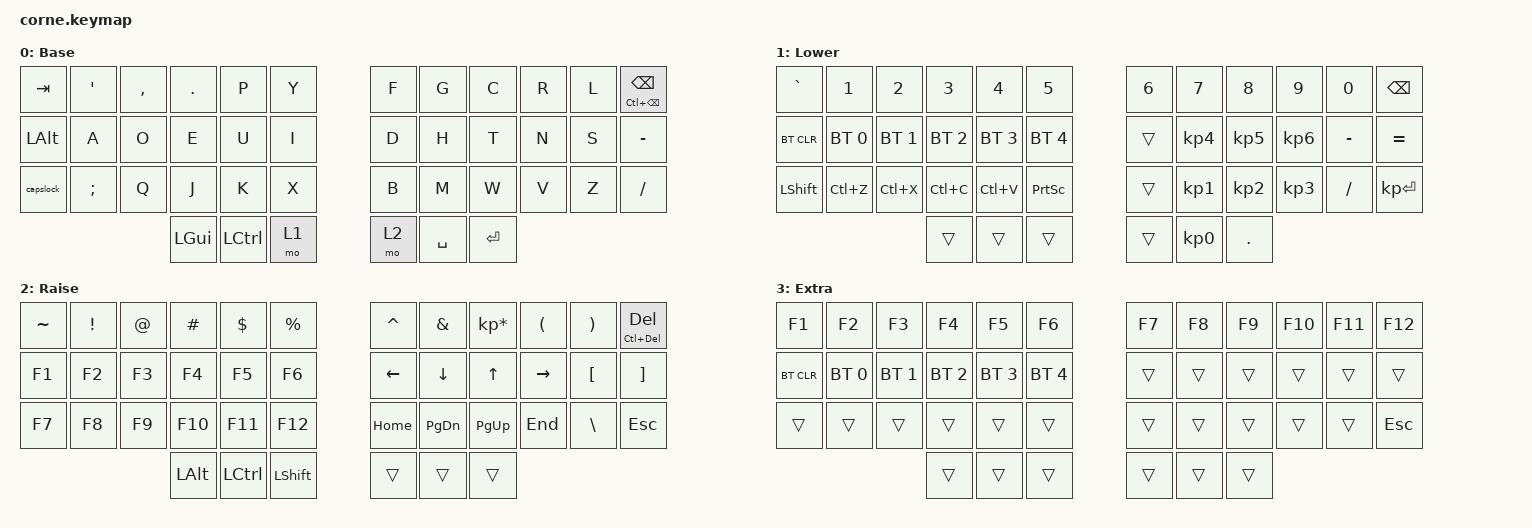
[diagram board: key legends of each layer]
/*
 * Copyright (c) 2020 The ZMK Contributors
 *
 * SPDX-License-Identifier: MIT
 */

#include <behaviors.dtsi>
#include <dt-bindings/zmk/bt.h>
#include <dt-bindings/zmk/keys.h>

/ {
    combos {
        compatible = "zmk,combos";

        Escape {
            bindings = <&kp ESCAPE>;
            key-positions = <0 1>;
        };
    };

    behaviors {
        holdtap: holdtap {
            compatible = "zmk,behavior-hold-tap";
            label = "HOLDTAP";
            bindings = <&kp>, <&kp>;

            #binding-cells = <2>;
            tapping-term-ms = <200>;
            flavor = "balanced";
        };

        capslock: capslock {
            compatible = "zmk,behavior-tap-dance";
            label = "CAPSLOCK";
            #binding-cells = <0>;
            bindings = <&kp LEFT_SHIFT>, <&kp CAPSLOCK>;
        };
    };

    keymap {
        compatible = "zmk,keymap";

        default_layer {
            // -----------------------------------------------------------------------------------------
            // |  TAB |  Q  |  W  |  E  |  R  |  T  |   |  Y  |  U   |  I  |  O  |  P  | BKSP |
            // | CTRL |  A  |  S  |  D  |  F  |  G  |   |  H  |  J   |  K  |  L  |  ;  |  '   |
            // | SHFT |  Z  |  X  |  C  |  V  |  B  |   |  N  |  M   |  ,  |  .  |  /  | ESC  |
            //                    | GUI | LWR | SPC |   | ENT | RSE  | ALT |

            display-name = "Base";
            bindings = <
&kp TAB       &kp SQT        &kp COMMA  &kp PERIOD  &kp P      &kp Y    &kp F  &kp G      &kp C      &kp R  &kp L  &holdtap LC(BSPC) BACKSPACE
&kp LEFT_ALT  &kp A          &kp O      &kp E       &kp U      &kp I    &kp D  &kp H      &kp T      &kp N  &kp S  &kp MINUS
&capslock     &kp SEMICOLON  &kp Q      &kp J       &kp K      &kp X    &kp B  &kp M      &kp W      &kp V  &kp Z  &kp SLASH
                                        &kp LGUI    &kp LCTRL  &mo 1    &mo 2  &kp SPACE  &kp ENTER
            >;
        };

        lower_layer {
            // -----------------------------------------------------------------------------------------
            // |  TAB |  1  |  2  |  3  |  4  |  5  |   |  6  |  7  |  8  |  9  |  0  | BKSP |
            // | BTCLR| BT1 | BT2 | BT3 | BT4 | BT5 |   | LFT | DWN |  UP | RGT |     |      |
            // | SHFT |     |     |     |     |     |   |     |     |     |     |     |      |
            //                    | GUI |     | SPC |   | ENT |     | ALT |

            display-name = "Lower";
            bindings = <
&kp GRAVE   &kp N1        &kp N2        &kp N3        &kp N4        &kp N5             &kp N6  &kp N7           &kp N8           &kp N9           &kp N0     &kp BSPC
&bt BT_CLR  &bt BT_SEL 0  &bt BT_SEL 1  &bt BT_SEL 2  &bt BT_SEL 3  &bt BT_SEL 4       &trans  &kp KP_NUMBER_4  &kp KP_NUMBER_5  &kp KP_NUMBER_6  &kp MINUS  &kp EQUAL
&kp LSHFT   &kp LC(Z)     &kp LC(X)     &kp LC(C)     &kp LC(V)     &kp PRINTSCREEN    &trans  &kp KP_NUMBER_1  &kp KP_NUMBER_2  &kp KP_NUMBER_3  &kp SLASH  &kp KP_ENTER
                                        &trans        &trans        &trans             &trans  &kp KP_NUMBER_0  &kp DOT
            >;
        };

        raise_layer {
            // -----------------------------------------------------------------------------------------
            // |  TAB |  !  |  @  |  #  |  $  |  %  |   |  ^  |  &  |  *  |  (  |  )  | BKSP |
            // | CTRL |     |     |     |     |     |   |  -  |  =  |  [  |  ]  |  \  |  `   |
            // | SHFT |     |     |     |     |     |   |  _  |  +  |  {  |  }  | "|" |  ~   |
            //                    | GUI |     | SPC |   | ENT |     | ALT |

            display-name = "Raise";
            bindings = <
&kp TILDE  &kp EXCL  &kp AT  &kp HASH      &kp DLLR   &kp PRCNT         &kp CARET  &kp AMPS       &kp KP_MULTIPLY  &kp LPAR   &kp RPAR          &holdtap LC(DEL) DELETE
&kp F1     &kp F2    &kp F3  &kp F4        &kp F5     &kp F6            &kp LEFT   &kp DOWN       &kp UP_ARROW     &kp RIGHT  &kp LEFT_BRACKET  &kp RIGHT_BRACKET
&kp F7     &kp F8    &kp F9  &kp F10       &kp F11    &kp F12           &kp HOME   &kp PAGE_DOWN  &kp PAGE_UP      &kp END    &kp BACKSLASH     &kp ESCAPE
                             &kp LEFT_ALT  &kp LCTRL  &kp LEFT_SHIFT    &trans     &trans         &trans
            >;
        };

        extra_1 {
            // -----------------------------------------------------------------------------------------
            // |  TAB |  !  |  @  |  #  |  $  |  %  |   |  ^  |  &  |  *  |  (  |  )  | BKSP |
            // | CTRL |     |     |     |     |     |   |  -  |  =  |  [  |  ]  |  \  |  `   |
            // | SHFT |     |     |     |     |     |   |  _  |  +  |  {  |  }  | "|" |  ~   |
            //                    | GUI |     | SPC |   | ENT |     | ALT |

            display-name = "Extra";
            bindings = <
&kp F1      &kp F2        &kp F3        &kp F4        &kp F5        &kp F6          &kp F7  &kp F8  &kp F9  &kp F10  &kp F11  &kp F12
&bt BT_CLR  &bt BT_SEL 0  &bt BT_SEL 1  &bt BT_SEL 2  &bt BT_SEL 3  &bt BT_SEL 4    &trans  &trans  &trans  &trans   &trans   &trans
&trans      &trans        &trans        &trans        &trans        &trans          &trans  &trans  &trans  &trans   &trans   &kp ESCAPE
                                        &trans        &trans        &trans          &trans  &trans  &trans
            >;
        };

        extra_2 { status = "reserved"; };

        extra_3 { status = "reserved"; };
    };

    conditional_layers {
        compatible = "zmk,conditional-layers";

        extra {
            if-layers = <1 2>;
            then-layer = <3>;
        };
    };
};
